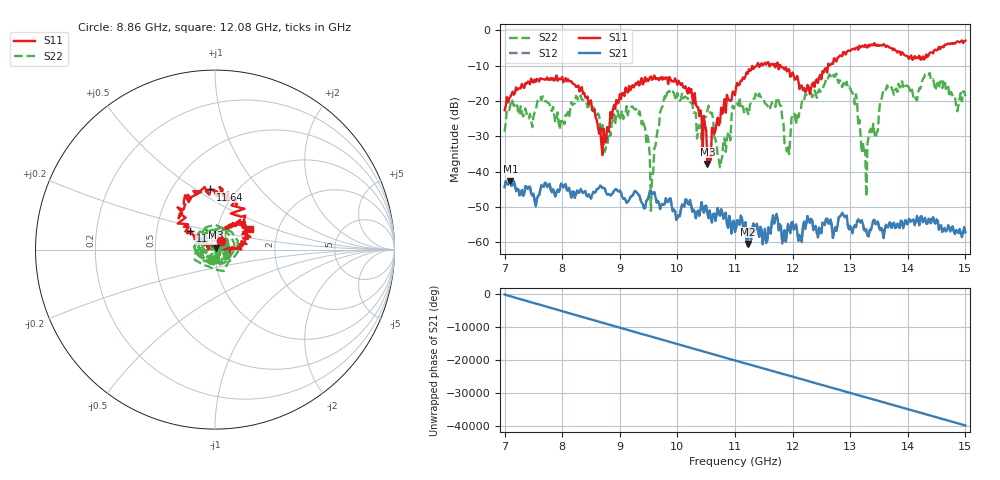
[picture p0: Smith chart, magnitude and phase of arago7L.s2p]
!Keysight Technologies,N5242B,MY47200105,A.14.00.23
!Date: Friday, April 26, 2024 11:27:23
!Correction: S11(C  2-Port  )
!S21(C  2-Port  )
!S12(C  2-Port  )
!S22(C  2-Port  )
!S2P File: Measurement: :
# Hz S  RI  R 50
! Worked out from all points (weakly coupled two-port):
!   401 points, 7 GHz to 15 GHz, reference 50 ohm
!   highest |S21| = -42.69 dB at 7.1 GHz (marker M1); lowest = -60.5 dB at 11.22 GHz (marker M2)
!   lowest |S11| = -37.9 dB at 10.52 GHz (marker M3), VSWR 1.03, Z = 50.6 + j1.14 ohm
!   |S11| at or under -10 dB: start of sweep to 11.37 GHz; 11.41319 GHz to 11.43973 GHz (26.54 MHz wide, 0.232 % of centre); 11.79 GHz to 12.62 GHz (825.7 MHz wide, 6.77 % of centre) (the widest 3 of 6)
!   |S22| runs from -51.2 to -12.1 dB; largest |S21 - S12| = 0.00022
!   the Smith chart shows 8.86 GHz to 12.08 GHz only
!   S11 on the Smith chart (normalised r, x): 8.86 GHz: 1.06, +0.10; 11.08 GHz: 0.74, +0.16; 11.64 GHz: 0.76, +0.58; 12.08 GHz: 1.43, +0.35
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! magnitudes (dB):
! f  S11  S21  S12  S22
! 7 GHz  -22.6  -44.5  -44.5  -28.7
! 7.1 GHz  -18.8  -42.7  -42.7  -21.2
! 8.34 GHz  -16.1  -45.5  -45.5  -19.6
! 8.72 GHz  -27.9  -44.6  -44.7  -28.8
! 8.86 GHz  -25.0  -46.5  -46.5  -26.1
! 9.3 GHz  -15.4  -46.1  -46.0  -22.7
! 9.56 GHz  -14.0  -46.2  -46.2  -41.2
! 9.68 GHz  -14.1  -48.9  -49.0  -27.3
! 10.26 GHz  -19.2  -51.4  -51.4  -20.9
! 10.52 GHz  -37.9  -51.9  -51.9  -23.0
! 10.74 GHz  -26.1  -52.5  -52.6  -38.8
! 11 GHz  -18.4  -57.1  -56.7  -20.8
! 11.08 GHz  -15.3  -55.1  -55.1  -19.0
! 11.22 GHz  -12.3  -60.5  -61.1  -23.3
! 11.64 GHz  -9.5  -54.2  -54.0  -20.4
! 11.9 GHz  -11.6  -57.6  -57.7  -34.3
! 12.08 GHz  -12.9  -57.0  -57.5  -23.3
! 12.34 GHz  -15.3  -53.8  -53.7  -18.9
! 12.96 GHz  -5.8  -55.3  -55.2  -16.4
! 13.24 GHz  -4.7  -56.6  -56.3  -35.0
! 13.68 GHz  -4.9  -54.7  -54.4  -16.4
! 15 GHz  -2.9  -57.2  -57.7  -18.6
